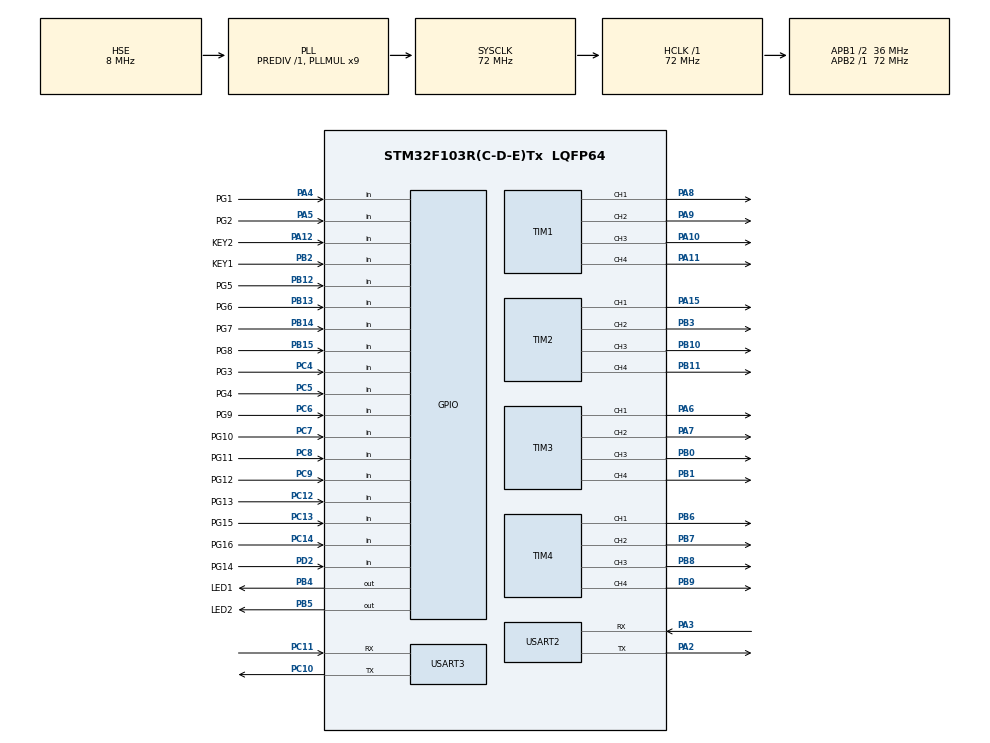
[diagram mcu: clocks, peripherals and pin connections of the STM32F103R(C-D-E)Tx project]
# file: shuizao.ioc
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Mcu.Family=STM32F1
Mcu.Name=STM32F103R(C-D-E)Tx
Mcu.Package=LQFP64
NVIC.PriorityGroup=NVIC_PRIORITYGROUP_4
PA10.Signal=S_TIM1_CH3
PA11.Signal=S_TIM1_CH4
PA12.GPIO_Label=KEY2
PA12.GPIO_PuPd=GPIO_PULLUP
PA12.Signal=GPIO_Input
PA13.Mode=Serial_Wire
PA13.Signal=SYS_JTMS-SWDIO
PA14.Mode=Serial_Wire
PA14.Signal=SYS_JTCK-SWCLK
PA15.Signal=S_TIM2_CH1_ETR
PA2.Mode=Asynchronous
PA2.Signal=USART2_TX
PA3.Mode=Asynchronous
PA3.Signal=USART2_RX
PA4.GPIO_Label=PG1
PA4.GPIO_PuPd=GPIO_PULLUP
PA4.Signal=GPIO_Input
PA5.GPIO_Label=PG2
PA5.GPIO_PuPd=GPIO_PULLUP
PA5.Signal=GPIO_Input
PA6.Signal=S_TIM3_CH1
PA7.Signal=S_TIM3_CH2
PA8.Signal=S_TIM1_CH1
PA9.Signal=S_TIM1_CH2
PB0.Signal=S_TIM3_CH3
PB1.Signal=S_TIM3_CH4
PB10.Signal=S_TIM2_CH3
PB11.Signal=S_TIM2_CH4
PB12.GPIO_Label=PG5
PB12.GPIO_PuPd=GPIO_PULLUP
PB12.Signal=GPIO_Input
PB13.GPIO_Label=PG6
PB13.GPIO_PuPd=GPIO_PULLUP
PB13.Signal=GPIO_Input
PB14.GPIO_Label=PG7
PB14.GPIO_PuPd=GPIO_PULLUP
PB14.Signal=GPIO_Input
PB15.GPIO_Label=PG8
PB15.GPIO_PuPd=GPIO_PULLUP
PB15.Signal=GPIO_Input
PB2.GPIO_Label=KEY1
PB2.GPIO_PuPd=GPIO_PULLUP
PB2.Signal=GPIO_Input
PB3.Signal=S_TIM2_CH2
PB4.GPIO_Label=LED1
PB4.Signal=GPIO_Output
PB5.GPIO_Label=LED2
PB5.Signal=GPIO_Output
PB6.Signal=S_TIM4_CH1
PB7.Signal=S_TIM4_CH2
PB8.Signal=S_TIM4_CH3
PB9.Signal=S_TIM4_CH4
PC10.Mode=Asynchronous
PC10.Signal=USART3_TX
PC11.Mode=Asynchronous
PC11.Signal=USART3_RX
PC12.GPIO_Label=PG13
PC12.GPIO_PuPd=GPIO_PULLUP
PC12.Signal=GPIO_Input
PC13-TAMPER-RTC.GPIO_Label=PG15
PC13-TAMPER-RTC.Signal=GPIO_Input
PC14-OSC32_IN.GPIO_Label=PG16
PC14-OSC32_IN.Signal=GPIO_Input
PC4.GPIO_Label=PG3
PC4.GPIO_PuPd=GPIO_PULLUP
PC4.Signal=GPIO_Input
PC5.GPIO_Label=PG4
PC5.GPIO_PuPd=GPIO_PULLUP
PC5.Signal=GPIO_Input
PC6.GPIO_Label=PG9
PC6.GPIO_PuPd=GPIO_PULLUP
PC6.Signal=GPIO_Input
PC7.GPIO_Label=PG10
PC7.GPIO_PuPd=GPIO_PULLUP
PC7.Signal=GPIO_Input
PC8.GPIO_Label=PG11
PC8.GPIO_PuPd=GPIO_PULLUP
PC8.Signal=GPIO_Input
PC9.GPIO_Label=PG12
PC9.GPIO_PuPd=GPIO_PULLUP
PC9.Signal=GPIO_Input
PD0-OSC_IN.Mode=HSE-External-Oscillator
PD0-OSC_IN.Signal=RCC_OSC_IN
PD1-OSC_OUT.Mode=HSE-External-Oscillator
PD1-OSC_OUT.Signal=RCC_OSC_OUT
PD2.GPIO_Label=PG14
PD2.GPIO_PuPd=GPIO_PULLUP
PD2.Signal=GPIO_Input
ProjectManager.HeapSize=0x200
ProjectManager.StackSize=0x400
ProjectManager.TargetToolchain=MDK-ARM V5.32
RCC.AHBFreq_Value=72000000
RCC.APB1CLKDivider=RCC_HCLK_DIV2
RCC.APB1Freq_Value=36000000
RCC.APB1TimFreq_Value=72000000
RCC.APB2Freq_Value=72000000
RCC.APB2TimFreq_Value=72000000
RCC.HCLKFreq_Value=72000000
RCC.PLLMUL=RCC_PLL_MUL9
RCC.PLLSourceVirtual=RCC_PLLSOURCE_HSE
RCC.SYSCLKFreq_VALUE=72000000
RCC.SYSCLKSource=RCC_SYSCLKSOURCE_PLLCLK
RCC.USBFreq_Value=72000000
SH.S_TIM1_CH1.0=TIM1_CH1,PWM Generation1 CH1
SH.S_TIM1_CH2.0=TIM1_CH2,PWM Generation2 CH2
SH.S_TIM1_CH3.0=TIM1_CH3,PWM Generation3 CH3
SH.S_TIM1_CH4.0=TIM1_CH4,PWM Generation4 CH4
SH.S_TIM2_CH1_ETR.0=TIM2_CH1,PWM Generation1 CH1
SH.S_TIM2_CH2.0=TIM2_CH2,PWM Generation2 CH2
SH.S_TIM2_CH3.0=TIM2_CH3,PWM Generation3 CH3
SH.S_TIM2_CH4.0=TIM2_CH4,PWM Generation4 CH4
SH.S_TIM3_CH1.0=TIM3_CH1,PWM Generation1 CH1
SH.S_TIM3_CH2.0=TIM3_CH2,PWM Generation2 CH2
SH.S_TIM3_CH3.0=TIM3_CH3,PWM Generation3 CH3
SH.S_TIM3_CH4.0=TIM3_CH4,PWM Generation4 CH4
SH.S_TIM4_CH1.0=TIM4_CH1,PWM Generation1 CH1
SH.S_TIM4_CH2.0=TIM4_CH2,PWM Generation2 CH2
SH.S_TIM4_CH3.0=TIM4_CH3,PWM Generation3 CH3
SH.S_TIM4_CH4.0=TIM4_CH4,PWM Generation4 CH4
TIM1.Channel-PWM\ Generation1\ CH1=TIM_CHANNEL_1
TIM1.Channel-PWM\ Generation2\ CH2=TIM_CHANNEL_2
TIM1.Channel-PWM\ Generation3\ CH3=TIM_CHANNEL_3
TIM1.Channel-PWM\ Generation4\ CH4=TIM_CHANNEL_4
TIM2.Channel-PWM\ Generation1\ CH1=TIM_CHANNEL_1
TIM2.Channel-PWM\ Generation2\ CH2=TIM_CHANNEL_2
TIM2.Channel-PWM\ Generation3\ CH3=TIM_CHANNEL_3
TIM2.Channel-PWM\ Generation4\ CH4=TIM_CHANNEL_4
TIM3.Channel-PWM\ Generation1\ CH1=TIM_CHANNEL_1
TIM3.Channel-PWM\ Generation2\ CH2=TIM_CHANNEL_2
TIM3.Channel-PWM\ Generation3\ CH3=TIM_CHANNEL_3
TIM3.Channel-PWM\ Generation4\ CH4=TIM_CHANNEL_4
TIM4.Channel-PWM\ Generation1\ CH1=TIM_CHANNEL_1
TIM4.Channel-PWM\ Generation2\ CH2=TIM_CHANNEL_2
TIM4.Channel-PWM\ Generation3\ CH3=TIM_CHANNEL_3
TIM4.Channel-PWM\ Generation4\ CH4=TIM_CHANNEL_4
USART2.VirtualMode=VM_ASYNC
USART3.VirtualMode=VM_ASYNC
VP_TIM1_VS_ClockSourceINT.Mode=Internal
VP_TIM2_VS_ClockSourceINT.Mode=Internal
VP_TIM3_VS_ClockSourceINT.Mode=Internal
VP_TIM4_VS_ClockSourceINT.Mode=Internal
board=custom

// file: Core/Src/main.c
/* USER CODE BEGIN Header */
/**
  ******************************************************************************
  * @file           : main.c
  * @brief          : Main program body
  ******************************************************************************
  * @attention
  *
  * Copyright (c) 2026 STMicroelectronics.
  * All rights reserved.
  *
  * This software is licensed under terms that can be found in the LICENSE file
  * in the root directory of this software component.
  * If no LICENSE file comes with this software, it is provided AS-IS.
  *
  ******************************************************************************
  */
/* USER CODE END Header */
#include "main.h"
#include "dma.h"
#include "tim.h"
#include "usart.h"
#include "gpio.h"

/* USER CODE BEGIN Includes */
#include "motor.h"
#include <stdio.h>
#include <string.h>
/* USER CODE END Includes */

void SystemClock_Config(void);
/* USER CODE BEGIN PFP */
void PG_Status_Send(void);
/* USER CODE END PFP */

int main(void)
{

  /* MCU Configuration--------------------------------------------------------*/

  /* Reset of all peripherals, Initializes the Flash interface and the Systick. */
  HAL_Init();

  /* Configure the system clock */
  SystemClock_Config();

  /* Initialize all configured peripherals */
  MX_GPIO_Init();
  MX_DMA_Init();
  MX_TIM1_Init();
  MX_TIM2_Init();
  MX_TIM3_Init();
  MX_TIM4_Init();
  MX_USART2_UART_Init();
  MX_USART3_UART_Init();
  /* USER CODE BEGIN 2 */
  Motor_Init();

  /* 上电自检: 逐路测试全部电机 (若不需要可注释掉) */
  Motor_TestAll();
  /* USER CODE END 2 */

  /* Infinite loop */
  while (1)
  {

    /* USER CODE BEGIN 3 */
    PG_Status_Send();
    HAL_Delay(500);
  }
  /* USER CODE END 3 */
}

void SystemClock_Config(void)
{
  RCC_OscInitTypeDef RCC_OscInitStruct = {0};
  RCC_ClkInitTypeDef RCC_ClkInitStruct = {0};

  /** Initializes the RCC Oscillators according to the specified parameters
  * in the RCC_OscInitTypeDef structure.
  */
  RCC_OscInitStruct.OscillatorType = RCC_OSCILLATORTYPE_HSE;
  RCC_OscInitStruct.HSEState = RCC_HSE_ON;
  RCC_OscInitStruct.HSEPredivValue = RCC_HSE_PREDIV_DIV1;
  RCC_OscInitStruct.HSIState = RCC_HSI_ON;
  RCC_OscInitStruct.PLL.PLLState = RCC_PLL_ON;
  RCC_OscInitStruct.PLL.PLLSource = RCC_PLLSOURCE_HSE;
  RCC_OscInitStruct.PLL.PLLMUL = RCC_PLL_MUL9;
  if (HAL_RCC_OscConfig(&RCC_OscInitStruct) != HAL_OK)
  {
    Error_Handler();
  }

  /** Initializes the CPU, AHB and APB buses clocks
  */
  RCC_ClkInitStruct.ClockType = RCC_CLOCKTYPE_HCLK|RCC_CLOCKTYPE_SYSCLK
                              |RCC_CLOCKTYPE_PCLK1|RCC_CLOCKTYPE_PCLK2;
  RCC_ClkInitStruct.SYSCLKSource = RCC_SYSCLKSOURCE_PLLCLK;
  RCC_ClkInitStruct.AHBCLKDivider = RCC_SYSCLK_DIV1;
  RCC_ClkInitStruct.APB1CLKDivider = RCC_HCLK_DIV2;
  RCC_ClkInitStruct.APB2CLKDivider = RCC_HCLK_DIV1;

  if (HAL_RCC_ClockConfig(&RCC_ClkInitStruct, FLASH_LATENCY_2) != HAL_OK)
  {
    Error_Handler();
  }
}

/* USER CODE BEGIN 4 */

/**
  * @brief  读取 PG1~PG16 引脚电平并通过 USART2 发送
  * @note   格式: "PG01:1 PG02:0 ... PG16:1\r\n"
  *         波特率: 115200, 超时 100ms
  */
void PG_Status_Send(void)
{
    /* 引脚编号表 (按 PG1~PG16 顺序) */
    const uint16_t pins[16] = {
        PG1_Pin,   PG2_Pin,   PG3_Pin,   PG4_Pin,
        PG5_Pin,   PG6_Pin,   PG7_Pin,   PG8_Pin,
        PG9_Pin,   PG10_Pin,  PG11_Pin,  PG12_Pin,
        PG13_Pin,  PG14_Pin,  PG15_Pin,  PG16_Pin
    };

    /* 对应 GPIO 端口表 */
    GPIO_TypeDef * const ports[16] = {
        PG1_GPIO_Port,   PG2_GPIO_Port,   PG3_GPIO_Port,   PG4_GPIO_Port,
        PG5_GPIO_Port,   PG6_GPIO_Port,   PG7_GPIO_Port,   PG8_GPIO_Port,
        PG9_GPIO_Port,   PG10_GPIO_Port,  PG11_GPIO_Port,  PG12_GPIO_Port,
        PG13_GPIO_Port,  PG14_GPIO_Port,  PG15_GPIO_Port,  PG16_GPIO_Port
    };

    char    buf[200];
    uint8_t len = 0;

    for (uint8_t i = 0; i < 16; i++)
    {
        GPIO_PinState level = HAL_GPIO_ReadPin(ports[i], pins[i]);
        len += sprintf(buf + len, "PG%02d:%d ", i + 1, level);
    }
    len += sprintf(buf + len, "\r\n");

    HAL_UART_Transmit(&huart2, (uint8_t *)buf, len, 100);
}

/* USER CODE END 4 */

void Error_Handler(void)
{
  __disable_irq();
  while (1)
  {
  }
}
